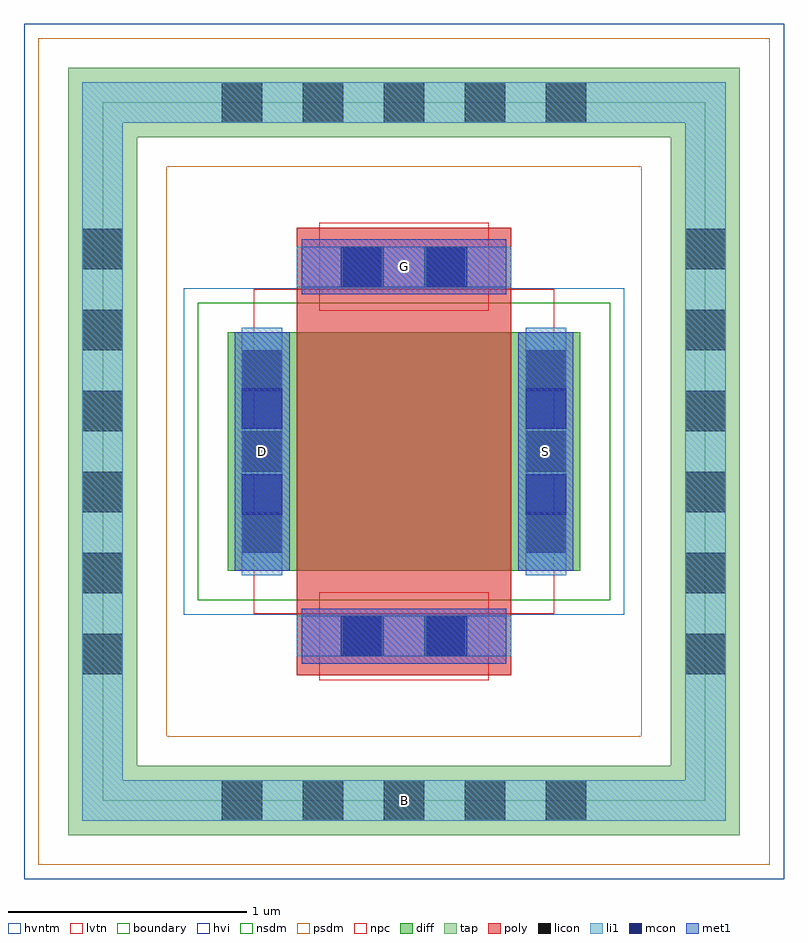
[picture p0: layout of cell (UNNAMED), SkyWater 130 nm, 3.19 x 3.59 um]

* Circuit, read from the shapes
.subckt (UNNAMED) B D G S
XM1 S G D B sky130_fd_pr__nfet_05v0_nvt w=1 l=0.9
.ends

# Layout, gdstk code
import gdstk
lib = gdstk.Library(unit=1e-6, precision=1e-09)
def R(c, l, rs):  # rectangles x0, y0, x1, y1
    for r in rs: c.add(gdstk.rectangle(r[:2], r[2:], *l))
def A(c, l, x, y, w, h, nx, ny, dx, dy):  # array of equal rectangles
    R(c, l, [(x+i*dx, y+j*dy, x+i*dx+w, y+j*dy+h) for i in range(nx) for j in range(ny)])
diff = (65, 20)
tap = (65, 44)
poly = (66, 20)
licon = (66, 44)
li1 = (67, 20)
mcon = (67, 44)
met1 = (68, 20)
hvi = (75, 20)
nsdm = (93, 44)
psdm = (94, 20)
npc = (95, 20)
hvntm = (125, 20)
lvtn = (125, 44)
boundary = (235, 4)

c__unnamed_ = lib.new_cell('(UNNAMED)')
R(c__unnamed_, diff, [(-0.74,-0.5,0.74,0.5)])
R(c__unnamed_, tap, [(-1.41,-1.61,1.41,-1.32), (-1.41,-1.32,-1.12,1.32), (1.12,-1.32,1.41,1.32), (-1.41,1.32,1.41,1.61)])
R(c__unnamed_, poly, [(-0.45,-0.94,0.45,0.94)])
A(c__unnamed_, licon, -0.765, -1.55, 0.17, 0.17, 5, 2, 0.34, 2.93)
A(c__unnamed_, licon, -1.35, -0.935, 0.17, 0.17, 1, 6, 0, 0.34)
A(c__unnamed_, licon, 1.18, -0.935, 0.17, 0.17, 1, 6, 0, 0.34)
A(c__unnamed_, licon, -0.68, -0.425, 0.17, 0.17, 1, 3, 0, 0.34)
A(c__unnamed_, licon, 0.51, -0.425, 0.17, 0.17, 1, 3, 0, 0.34)
R(c__unnamed_, licon, [(-0.255,-0.86,-0.085,-0.69), (0.085,-0.86,0.255,-0.69), (-0.255,0.69,-0.085,0.86), (0.085,0.69,0.255,0.86)])
R(c__unnamed_, li1, [(-1.35,-1.55,1.35,-1.38), (-1.35,-1.38,-1.18,1.38), (1.18,-1.38,1.35,1.38), (-0.45,-0.86,0.45,-0.69), (-0.68,-0.52,-0.51,0.52), (0.51,-0.52,0.68,0.52), (-0.45,0.69,0.45,0.86), (-1.35,1.38,1.35,1.55)])
R(c__unnamed_, mcon, [(-0.265,-0.86,-0.095,-0.69), (0.095,-0.86,0.265,-0.69), (-0.68,-0.265,-0.51,-0.095), (0.51,-0.265,0.68,-0.095), (-0.68,0.095,-0.51,0.265), (0.51,0.095,0.68,0.265), (-0.265,0.69,-0.095,0.86), (0.095,0.69,0.265,0.86)])
R(c__unnamed_, met1, [(-0.43,-0.89,0.43,-0.66), (-0.71,-0.5,-0.48,0.5), (0.48,-0.5,0.71,0.5), (-0.43,0.66,0.43,0.89)])
R(c__unnamed_, hvi, [(-1.595,-1.795,1.595,1.795)])
R(c__unnamed_, nsdm, [(-0.865,-0.625,0.865,0.625)])
R(c__unnamed_, psdm, [(-1.535,-1.735,1.535,-1.195), (-1.535,-1.195,-0.995,1.195), (0.995,-1.195,1.535,1.195), (-1.535,1.195,1.535,1.735)])
R(c__unnamed_, npc, [(-0.355,-0.96,0.355,-0.59), (-0.355,0.59,0.355,0.96)])
R(c__unnamed_, hvntm, [(-0.925,-0.685,0.925,0.685)])
R(c__unnamed_, lvtn, [(-0.63,-0.68,0.63,0.68)])
R(c__unnamed_, boundary, [(-1.265,-1.465,1.265,1.465)])
c__unnamed_.add(gdstk.Label('B', (0,-1.465), layer=67, texttype=5))
c__unnamed_.add(gdstk.Label('D', (-0.595,0), layer=67, texttype=5))
c__unnamed_.add(gdstk.Label('S', (0.595,0), layer=67, texttype=5))
c__unnamed_.add(gdstk.Label('G', (0,0.775), layer=67, texttype=5))

lib.write_gds('_UNNAMED_.gds')
